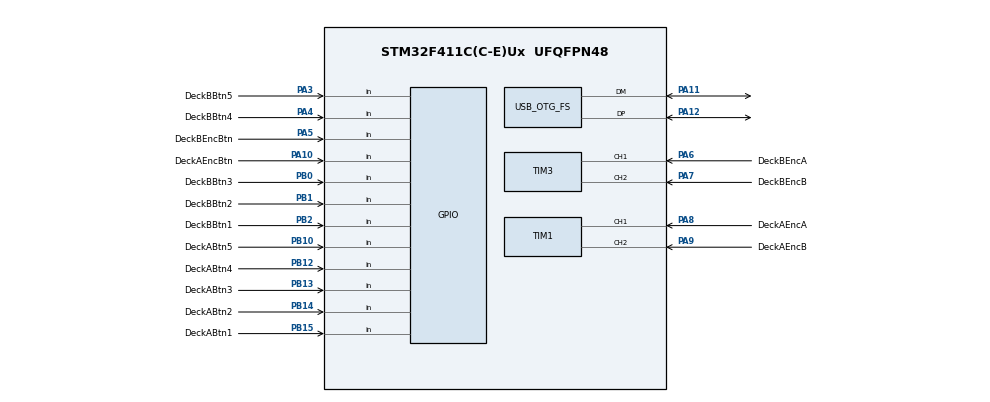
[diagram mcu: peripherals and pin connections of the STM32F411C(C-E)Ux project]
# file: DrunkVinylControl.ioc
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Mcu.Family=STM32F4
Mcu.Name=STM32F411C(C-E)Ux
Mcu.Package=UFQFPN48
NVIC.OTG_FS_IRQn=true\:0\:0\:false\:false\:true\:false\:true\:true
NVIC.PriorityGroup=NVIC_PRIORITYGROUP_4
PA10.GPIO_Label=DeckAEncBtn
PA10.Signal=GPIO_Input
PA11.Mode=Device_Only
PA11.Signal=USB_OTG_FS_DM
PA12.Mode=Device_Only
PA12.Signal=USB_OTG_FS_DP
PA13.Signal=SYS_JTMS-SWDIO
PA14.Signal=SYS_JTCK-SWCLK
PA3.GPIO_Label=DeckBBtn5
PA3.Signal=GPIO_Input
PA4.GPIO_Label=DeckBBtn4
PA4.Signal=GPIO_Input
PA5.GPIO_Label=DeckBEncBtn
PA5.Signal=GPIO_Input
PA6.GPIO_Label=DeckBEncA
PA6.Signal=S_TIM3_CH1
PA7.GPIO_Label=DeckBEncB
PA7.Signal=S_TIM3_CH2
PA8.GPIO_Label=DeckAEncA
PA8.Signal=S_TIM1_CH1
PA9.GPIO_Label=DeckAEncB
PA9.Signal=S_TIM1_CH2
PB0.GPIO_Label=DeckBBtn3
PB0.Signal=GPIO_Input
PB1.GPIO_Label=DeckBBtn2
PB1.Signal=GPIO_Input
PB10.GPIO_Label=DeckABtn5
PB10.Signal=GPIO_Input
PB12.GPIO_Label=DeckABtn4
PB12.Signal=GPIO_Input
PB13.GPIO_Label=DeckABtn3
PB13.Signal=GPIO_Input
PB14.GPIO_Label=DeckABtn2
PB14.Signal=GPIO_Input
PB15.GPIO_Label=DeckABtn1
PB15.Signal=GPIO_Input
PB2.GPIO_Label=DeckBBtn1
PB2.Signal=GPIO_Input
PH0\ -\ OSC_IN.Mode=HSE-External-Oscillator
PH0\ -\ OSC_IN.Signal=RCC_OSC_IN
PH1\ -\ OSC_OUT.Mode=HSE-External-Oscillator
PH1\ -\ OSC_OUT.Signal=RCC_OSC_OUT
ProjectManager.HeapSize=0x200
ProjectManager.StackSize=0x400
ProjectManager.TargetToolchain=Makefile
RCC.48MHZClocksFreq_Value=48000000
RCC.AHBFreq_Value=60000000
RCC.APB1CLKDivider=RCC_HCLK_DIV2
RCC.APB1Freq_Value=30000000
RCC.APB1TimFreq_Value=60000000
RCC.APB2Freq_Value=60000000
RCC.APB2TimFreq_Value=60000000
RCC.CortexFreq_Value=60000000
RCC.HCLKFreq_Value=60000000
RCC.HSE_VALUE=25000000
RCC.HSI_VALUE=16000000
RCC.LSE_VALUE=32768
RCC.PLLM=15
RCC.PLLN=144
RCC.PLLP=RCC_PLLP_DIV4
RCC.PLLQ=5
RCC.SYSCLKFreq_VALUE=60000000
RCC.SYSCLKSource=RCC_SYSCLKSOURCE_PLLCLK
RCC.VCOOutputFreq_Value=240000000
SH.S_TIM1_CH1.0=TIM1_CH1,Encoder_Interface
SH.S_TIM1_CH2.0=TIM1_CH2,Encoder_Interface
SH.S_TIM3_CH1.0=TIM3_CH1,Encoder_Interface
SH.S_TIM3_CH2.0=TIM3_CH2,Encoder_Interface
USB_DEVICE.CLASS_NAME_FS=HID
USB_DEVICE.PRODUCT_STRING_HID_FS=DrunkVinylControl
USB_DEVICE.VirtualMode=Hid
USB_DEVICE.VirtualModeFS=Hid_FS
USB_OTG_FS.VirtualMode=Device_Only
VP_USB_DEVICE_VS_USB_DEVICE_HID_FS.Mode=HID_FS
board=custom

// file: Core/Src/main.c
/* USER CODE BEGIN Header */
/**
 ******************************************************************************
 * @file           : main.c
 * @brief          : Main program body
 ******************************************************************************
 * @attention
 *
 * Copyright (c) 2024 STMicroelectronics.
 * All rights reserved.
 *
 * This software is licensed under terms that can be found in the LICENSE file
 * in the root directory of this software component.
 * If no LICENSE file comes with this software, it is provided AS-IS.
 *
 ******************************************************************************
 */
/* USER CODE END Header */
#include "main.h"
#include "usb_device.h"

/* USER CODE BEGIN Includes */
#include "usbd_midi.h"

/* USER CODE END Includes */

void SystemClock_Config(void);
static void MX_GPIO_Init(void);
static void MX_TIM1_Init(void);
static void MX_TIM3_Init(void);

int main(void)
{

  /* MCU Configuration--------------------------------------------------------*/

  /* Reset of all peripherals, Initializes the Flash interface and the Systick. */
  HAL_Init();

  /* Configure the system clock */
  SystemClock_Config();

  /* Initialize all configured peripherals */
  MX_GPIO_Init();
  MX_USB_DEVICE_Init();
  MX_TIM1_Init();
  MX_TIM3_Init();
  /* USER CODE BEGIN 2 */
#define MIDI_MESSAGE_NOTE_OFF          0x08
#define MIDI_MESSAGE_NOTE_ON           0x09
#define MIDI_MESSAGE_KEY_PRESSURE      0x0A
#define MIDI_MESSAGE_CONTROL_CHANGE    0x0B
#define MIDI_MESSAGE_PROGRAM_CHANGE    0x0C
#define MIDI_MESSAGE_CHANNEL_PRESSURE  0x0D
#define MIDI_MESSAGE_PITCH_BAND_CHANGE 0x0E

    extern USBD_HandleTypeDef hUsbDeviceFS;

    uint8_t cable = 0;
    uint8_t messageByte2 = 72;

    uint8_t reportBufferOff[4] = {
        // cable - represents physical/virtual port number (0 - 15) of the device
        // code - in general cases is equal to midi message
        (cable << 4) | MIDI_MESSAGE_NOTE_OFF,
        (MIDI_MESSAGE_NOTE_OFF << 4),
        48,
        messageByte2,
    };
    uint8_t reportBufferOn[4] = {
        // cable - represents physical/virtual port number (0 - 15) of the device
        // code - in general cases is equal to midi message
        (cable << 4) | MIDI_MESSAGE_KEY_PRESSURE,
        (MIDI_MESSAGE_NOTE_ON << 4),
        48,
        messageByte2,
    };
    uint8_t reportBufferInc[4] = {
        // cable - represents physical/virtual port number (0 - 15) of the device
        // code - in general cases is equal to midi message
        (cable << 4) | MIDI_MESSAGE_KEY_PRESSURE,
        (MIDI_MESSAGE_NOTE_ON << 4),
        49,
        messageByte2,
    };
    uint8_t reportBufferDec[4] = {
        // cable - represents physical/virtual port number (0 - 15) of the device
        // code - in general cases is equal to midi message
        (cable << 4) | MIDI_MESSAGE_KEY_PRESSURE,
        (MIDI_MESSAGE_NOTE_ON << 4),
        50,
        messageByte2,
    };
    uint8_t reportBufferTest1[4] = {
        // cable - represents physical/virtual port number (0 - 15) of the device
        // code - in general cases is equal to midi message
        (cable << 4) | MIDI_MESSAGE_KEY_PRESSURE,
        (MIDI_MESSAGE_NOTE_ON << 4),
        51,
        messageByte2,
    };
    uint8_t reportBufferTest1Off[4] = {
        // cable - represents physical/virtual port number (0 - 15) of the device
        // code - in general cases is equal to midi message
        (cable << 4) | MIDI_MESSAGE_KEY_PRESSURE,
        (MIDI_MESSAGE_NOTE_OFF << 4),
        51,
        messageByte2,
    };

    uint16_t tim1_val_prev = 0;
  /* USER CODE END 2 */

  /* Infinite loop */
  /* USER CODE BEGIN WHILE */
    while (1)
    {
        if (!LL_GPIO_IsInputPinSet(DeckAEncBtn_GPIO_Port, DeckAEncBtn_Pin)) {
            while (USBD_MIDI_GetState(&hUsbDeviceFS) != MIDI_IDLE) {};
            USBD_MIDI_SendReport(&hUsbDeviceFS, reportBufferOn, 4);
        }
        if (!LL_GPIO_IsInputPinSet(DeckABtn1_GPIO_Port, DeckABtn1_Pin)) {
            while (USBD_MIDI_GetState(&hUsbDeviceFS) != MIDI_IDLE) {};
            USBD_MIDI_SendReport(&hUsbDeviceFS, reportBufferTest1, 4);
        } else {
            while (USBD_MIDI_GetState(&hUsbDeviceFS) != MIDI_IDLE) {};
            USBD_MIDI_SendReport(&hUsbDeviceFS, reportBufferTest1Off, 4);
        }
        uint16_t tim1_current = LL_TIM_GetCounter(TIM1);
        tim1_current = 32767 + ((tim1_current-1) & 0xFFFF) / 2;
        if (tim1_val_prev != tim1_current) {
            if (tim1_val_prev > tim1_current) {
                while (USBD_MIDI_GetState(&hUsbDeviceFS) != MIDI_IDLE) {};
                USBD_MIDI_SendReport(&hUsbDeviceFS, reportBufferInc, 4);
            } else {
                while (USBD_MIDI_GetState(&hUsbDeviceFS) != MIDI_IDLE) {};
                USBD_MIDI_SendReport(&hUsbDeviceFS, reportBufferDec, 4);
            }
            tim1_val_prev = tim1_current;
        }
        LL_mDelay(10);
    /* USER CODE END WHILE */

    }
}

void SystemClock_Config(void)
{
  LL_FLASH_SetLatency(LL_FLASH_LATENCY_1);
  while(LL_FLASH_GetLatency()!= LL_FLASH_LATENCY_1)
  {
  }
  LL_PWR_SetRegulVoltageScaling(LL_PWR_REGU_VOLTAGE_SCALE1);
  LL_RCC_HSE_Enable();

   /* Wait till HSE is ready */
  while(LL_RCC_HSE_IsReady() != 1)
  {

  }
  LL_RCC_PLL_ConfigDomain_SYS(LL_RCC_PLLSOURCE_HSE, LL_RCC_PLLM_DIV_15, 144, LL_RCC_PLLP_DIV_4);
  LL_RCC_PLL_ConfigDomain_48M(LL_RCC_PLLSOURCE_HSE, LL_RCC_PLLM_DIV_15, 144, LL_RCC_PLLQ_DIV_5);
  LL_RCC_PLL_Enable();

   /* Wait till PLL is ready */
  while(LL_RCC_PLL_IsReady() != 1)
  {

  }
  LL_RCC_SetAHBPrescaler(LL_RCC_SYSCLK_DIV_1);
  LL_RCC_SetAPB1Prescaler(LL_RCC_APB1_DIV_2);
  LL_RCC_SetAPB2Prescaler(LL_RCC_APB2_DIV_1);
  LL_RCC_SetSysClkSource(LL_RCC_SYS_CLKSOURCE_PLL);

   /* Wait till System clock is ready */
  while(LL_RCC_GetSysClkSource() != LL_RCC_SYS_CLKSOURCE_STATUS_PLL)
  {

  }
  LL_SetSystemCoreClock(60000000);

   /* Update the time base */
  if (HAL_InitTick (TICK_INT_PRIORITY) != HAL_OK)
  {
    Error_Handler();
  }
  LL_RCC_SetTIMPrescaler(LL_RCC_TIM_PRESCALER_TWICE);
}

static void MX_TIM1_Init(void)
{

  LL_TIM_InitTypeDef TIM_InitStruct = {0};

  LL_GPIO_InitTypeDef GPIO_InitStruct = {0};

  /* Peripheral clock enable */
  LL_APB2_GRP1_EnableClock(LL_APB2_GRP1_PERIPH_TIM1);

  LL_AHB1_GRP1_EnableClock(LL_AHB1_GRP1_PERIPH_GPIOA);
  /**TIM1 GPIO Configuration
  PA8   ------> TIM1_CH1
  PA9   ------> TIM1_CH2
  */
  GPIO_InitStruct.Pin = DeckAEncA_Pin|DeckAEncB_Pin;
  GPIO_InitStruct.Mode = LL_GPIO_MODE_ALTERNATE;
  GPIO_InitStruct.Speed = LL_GPIO_SPEED_FREQ_LOW;
  GPIO_InitStruct.OutputType = LL_GPIO_OUTPUT_PUSHPULL;
  GPIO_InitStruct.Pull = LL_GPIO_PULL_NO;
  GPIO_InitStruct.Alternate = LL_GPIO_AF_1;
  LL_GPIO_Init(GPIOA, &GPIO_InitStruct);

  LL_TIM_SetEncoderMode(TIM1, LL_TIM_ENCODERMODE_X2_TI1);
  LL_TIM_IC_SetActiveInput(TIM1, LL_TIM_CHANNEL_CH1, LL_TIM_ACTIVEINPUT_DIRECTTI);
  LL_TIM_IC_SetPrescaler(TIM1, LL_TIM_CHANNEL_CH1, LL_TIM_ICPSC_DIV1);
  LL_TIM_IC_SetFilter(TIM1, LL_TIM_CHANNEL_CH1, LL_TIM_IC_FILTER_FDIV1);
  LL_TIM_IC_SetPolarity(TIM1, LL_TIM_CHANNEL_CH1, LL_TIM_IC_POLARITY_RISING);
  LL_TIM_IC_SetActiveInput(TIM1, LL_TIM_CHANNEL_CH2, LL_TIM_ACTIVEINPUT_DIRECTTI);
  LL_TIM_IC_SetPrescaler(TIM1, LL_TIM_CHANNEL_CH2, LL_TIM_ICPSC_DIV1);
  LL_TIM_IC_SetFilter(TIM1, LL_TIM_CHANNEL_CH2, LL_TIM_IC_FILTER_FDIV1);
  LL_TIM_IC_SetPolarity(TIM1, LL_TIM_CHANNEL_CH2, LL_TIM_IC_POLARITY_RISING);
  TIM_InitStruct.Prescaler = 0;
  TIM_InitStruct.CounterMode = LL_TIM_COUNTERMODE_UP;
  TIM_InitStruct.Autoreload = 65535;
  TIM_InitStruct.ClockDivision = LL_TIM_CLOCKDIVISION_DIV1;
  TIM_InitStruct.RepetitionCounter = 0;
  LL_TIM_Init(TIM1, &TIM_InitStruct);
  LL_TIM_DisableARRPreload(TIM1);
  LL_TIM_SetTriggerOutput(TIM1, LL_TIM_TRGO_RESET);
  LL_TIM_DisableMasterSlaveMode(TIM1);
  /* USER CODE BEGIN TIM1_Init 2 */
    LL_TIM_EnableCounter(TIM1);

  /* USER CODE END TIM1_Init 2 */

}

static void MX_TIM3_Init(void)
{

  LL_TIM_InitTypeDef TIM_InitStruct = {0};

  LL_GPIO_InitTypeDef GPIO_InitStruct = {0};

  /* Peripheral clock enable */
  LL_APB1_GRP1_EnableClock(LL_APB1_GRP1_PERIPH_TIM3);

  LL_AHB1_GRP1_EnableClock(LL_AHB1_GRP1_PERIPH_GPIOA);
  /**TIM3 GPIO Configuration
  PA6   ------> TIM3_CH1
  PA7   ------> TIM3_CH2
  */
  GPIO_InitStruct.Pin = DeckBEncA_Pin|DeckBEncB_Pin;
  GPIO_InitStruct.Mode = LL_GPIO_MODE_ALTERNATE;
  GPIO_InitStruct.Speed = LL_GPIO_SPEED_FREQ_LOW;
  GPIO_InitStruct.OutputType = LL_GPIO_OUTPUT_PUSHPULL;
  GPIO_InitStruct.Pull = LL_GPIO_PULL_NO;
  GPIO_InitStruct.Alternate = LL_GPIO_AF_2;
  LL_GPIO_Init(GPIOA, &GPIO_InitStruct);

  LL_TIM_SetEncoderMode(TIM3, LL_TIM_ENCODERMODE_X2_TI1);
  LL_TIM_IC_SetActiveInput(TIM3, LL_TIM_CHANNEL_CH1, LL_TIM_ACTIVEINPUT_DIRECTTI);
  LL_TIM_IC_SetPrescaler(TIM3, LL_TIM_CHANNEL_CH1, LL_TIM_ICPSC_DIV1);
  LL_TIM_IC_SetFilter(TIM3, LL_TIM_CHANNEL_CH1, LL_TIM_IC_FILTER_FDIV1);
  LL_TIM_IC_SetPolarity(TIM3, LL_TIM_CHANNEL_CH1, LL_TIM_IC_POLARITY_RISING);
  LL_TIM_IC_SetActiveInput(TIM3, LL_TIM_CHANNEL_CH2, LL_TIM_ACTIVEINPUT_DIRECTTI);
  LL_TIM_IC_SetPrescaler(TIM3, LL_TIM_CHANNEL_CH2, LL_TIM_ICPSC_DIV1);
  LL_TIM_IC_SetFilter(TIM3, LL_TIM_CHANNEL_CH2, LL_TIM_IC_FILTER_FDIV1);
  LL_TIM_IC_SetPolarity(TIM3, LL_TIM_CHANNEL_CH2, LL_TIM_IC_POLARITY_RISING);
  TIM_InitStruct.Prescaler = 0;
  TIM_InitStruct.CounterMode = LL_TIM_COUNTERMODE_UP;
  TIM_InitStruct.Autoreload = 65535;
  TIM_InitStruct.ClockDivision = LL_TIM_CLOCKDIVISION_DIV1;
  LL_TIM_Init(TIM3, &TIM_InitStruct);
  LL_TIM_DisableARRPreload(TIM3);
  LL_TIM_SetTriggerOutput(TIM3, LL_TIM_TRGO_RESET);
  LL_TIM_DisableMasterSlaveMode(TIM3);

}

static void MX_GPIO_Init(void)
{
  LL_GPIO_InitTypeDef GPIO_InitStruct = {0};

  /* GPIO Ports Clock Enable */
  LL_AHB1_GRP1_EnableClock(LL_AHB1_GRP1_PERIPH_GPIOH);
  LL_AHB1_GRP1_EnableClock(LL_AHB1_GRP1_PERIPH_GPIOA);
  LL_AHB1_GRP1_EnableClock(LL_AHB1_GRP1_PERIPH_GPIOB);

  /**/
  GPIO_InitStruct.Pin = DeckBBtn5_Pin|DeckBBtn4_Pin|DeckBEncBtn_Pin|DeckAEncBtn_Pin;
  GPIO_InitStruct.Mode = LL_GPIO_MODE_INPUT;
  GPIO_InitStruct.Pull = LL_GPIO_PULL_NO;
  LL_GPIO_Init(GPIOA, &GPIO_InitStruct);

  /**/
  GPIO_InitStruct.Pin = DeckBBtn3_Pin|DeckBBtn2_Pin|DeckBBtn1_Pin|DeckABtn5_Pin
                          |DeckABtn4_Pin|DeckABtn3_Pin|DeckABtn2_Pin|DeckABtn1_Pin;
  GPIO_InitStruct.Mode = LL_GPIO_MODE_INPUT;
  GPIO_InitStruct.Pull = LL_GPIO_PULL_NO;
  LL_GPIO_Init(GPIOB, &GPIO_InitStruct);

}

void Error_Handler(void)
{
    __disable_irq();
    while (1)
    {
    }
}
